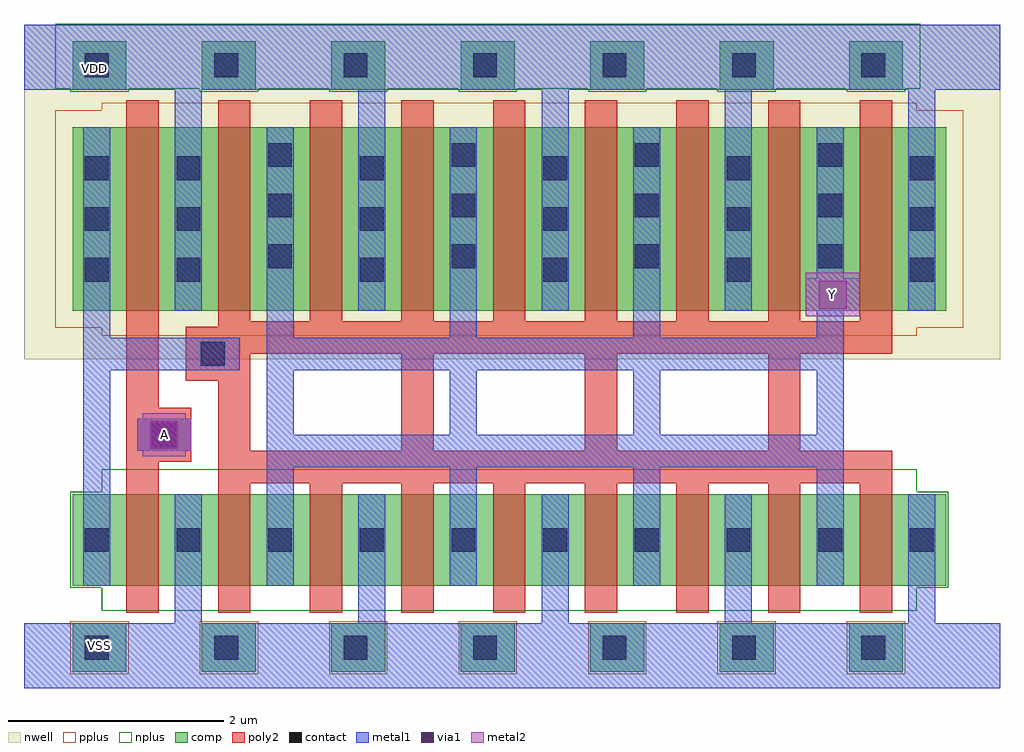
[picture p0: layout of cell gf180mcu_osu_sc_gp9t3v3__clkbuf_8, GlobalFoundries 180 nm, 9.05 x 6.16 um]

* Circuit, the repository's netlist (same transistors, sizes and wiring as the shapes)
* Copyright 2022 Google LLC
*
* Licensed under the Apache License, Version 2.0 (the "License");
* you may not use this file except in compliance with the License.
* You may obtain a copy of the License at
*
*      http://www.apache.org/licenses/LICENSE-2.0
*
* Unless required by applicable law or agreed to in writing, software
* distributed under the License is distributed on an "AS IS" BASIS,
* WITHOUT WARRANTIES OR CONDITIONS OF ANY KIND, either express or implied.
* See the License for the specific language governing permissions and
* limitations under the License.

* NGSPICE file created from gf180mcu_osu_sc_gp9t3v3__clkbuf_8.ext - technology: gf180mcuC

.subckt gf180mcu_osu_sc_gp9t3v3__clkbuf_8 A Y VDD VSS
X0 Y a_9_21# VDD VDD pfet_03p3 w=1.7u l=0.3u
X1 VDD a_9_21# Y VDD pfet_03p3 w=1.7u l=0.3u
X2 VDD a_9_21# Y VDD pfet_03p3 w=1.7u l=0.3u
X3 VDD A a_9_21# VDD pfet_03p3 w=1.7u l=0.3u
X4 Y a_9_21# VSS VSS nfet_03p3 w=0.85u l=0.3u
X5 VSS a_9_21# Y VSS nfet_03p3 w=0.85u l=0.3u
X6 VSS a_9_21# Y VSS nfet_03p3 w=0.85u l=0.3u
X7 VSS A a_9_21# VSS nfet_03p3 w=0.85u l=0.3u
X8 VDD a_9_21# Y VDD pfet_03p3 w=1.7u l=0.3u
X9 VDD a_9_21# Y VDD pfet_03p3 w=1.7u l=0.3u
X10 Y a_9_21# VDD VDD pfet_03p3 w=1.7u l=0.3u
X11 Y a_9_21# VDD VDD pfet_03p3 w=1.7u l=0.3u
X12 Y a_9_21# VDD VDD pfet_03p3 w=1.7u l=0.3u
X13 VSS a_9_21# Y VSS nfet_03p3 w=0.85u l=0.3u
X14 VSS a_9_21# Y VSS nfet_03p3 w=0.85u l=0.3u
X15 Y a_9_21# VSS VSS nfet_03p3 w=0.85u l=0.3u
X16 Y a_9_21# VSS VSS nfet_03p3 w=0.85u l=0.3u
X17 Y a_9_21# VSS VSS nfet_03p3 w=0.85u l=0.3u
.ends

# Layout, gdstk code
import gdstk
lib = gdstk.Library(unit=1e-6, precision=1e-09)
def R(c, l, rs):  # rectangles x0, y0, x1, y1
    for r in rs: c.add(gdstk.rectangle(r[:2], r[2:], *l))
def A(c, l, x, y, w, h, nx, ny, dx, dy):  # array of equal rectangles
    R(c, l, [(x+i*dx, y+j*dy, x+i*dx+w, y+j*dy+h) for i in range(nx) for j in range(ny)])
nwell = (21, 0)
comp = (22, 0)
poly2 = (30, 0)
pplus = (31, 0)
nplus = (32, 0)
contact = (33, 0)
metal1 = (34, 0)
via1 = (35, 0)
metal2 = (36, 0)

gf180mcu_osu_sc_gp9t3v3_ = lib.new_cell('gf180mcu_osu_sc_gp9t3v3__clkbuf_8')
R(gf180mcu_osu_sc_gp9t3v3_, nwell, [(0,3.05,9.05,6.15)])
A(gf180mcu_osu_sc_gp9t3v3_, comp, 0.45, 0.15, 0.5, 0.45, 7, 2, 1.2, 5.4)
R(gf180mcu_osu_sc_gp9t3v3_, comp, [(0.45,0.95,8.55,1.8), (0.45,3.5,8.55,5.2)])
A(gf180mcu_osu_sc_gp9t3v3_, poly2, 1.8, 0.7, 0.3, 1.2, 8, 1, 0.85, 0)
A(gf180mcu_osu_sc_gp9t3v3_, poly2, 3.5, 2.2, 0.3, 0.9, 3, 1, 1.7, 0)
A(gf180mcu_osu_sc_gp9t3v3_, poly2, 1.8, 3.4, 0.3, 2.05, 8, 1, 0.85, 0)
R(gf180mcu_osu_sc_gp9t3v3_, poly2, [(0.95,0.7,1.25,2.1), (1.8,1.9,8.05,2.2), (0.95,2.1,1.55,2.6), (1.8,2.2,2.1,2.85), (0.95,2.6,1.25,5.45), (1.5,2.85,2.1,3.1), (1.5,3.1,8.05,3.35), (1.8,3.35,8.05,3.4)])
A(gf180mcu_osu_sc_gp9t3v3_, pplus, 0.43, 0.13, 0.54, 0.49, 7, 1, 1.2, 0)
R(gf180mcu_osu_sc_gp9t3v3_, pplus, [(0.72,3.27,8.28,3.34), (0.29,3.34,8.71,5.36), (0.72,5.36,8.28,5.43)])
A(gf180mcu_osu_sc_gp9t3v3_, nplus, 0.43, 5.53, 0.54, 0.03, 7, 1, 1.2, 0)
R(gf180mcu_osu_sc_gp9t3v3_, nplus, [(0.72,0.72,8.28,0.93), (0.43,0.93,8.57,1.82), (0.72,1.82,8.28,2.03), (0.29,5.56,8.31,6.16)])
A(gf180mcu_osu_sc_gp9t3v3_, contact, 0.565, 0.265, 0.22, 0.22, 7, 2, 1.2, 5.4)
A(gf180mcu_osu_sc_gp9t3v3_, contact, 0.565, 1.265, 0.22, 0.22, 10, 1, 0.85, 0)
A(gf180mcu_osu_sc_gp9t3v3_, contact, 0.565, 3.77, 0.22, 0.22, 1, 3, 0, 0.47)
A(gf180mcu_osu_sc_gp9t3v3_, contact, 1.415, 3.77, 0.22, 0.22, 5, 3, 1.7, 0.47)
A(gf180mcu_osu_sc_gp9t3v3_, contact, 2.265, 3.895, 0.22, 0.22, 4, 3, 1.7, 0.47)
R(gf180mcu_osu_sc_gp9t3v3_, contact, [(1.19,2.24,1.41,2.46), (1.64,2.99,1.86,3.21)])
A(gf180mcu_osu_sc_gp9t3v3_, metal1, 1.4, 0.6, 0.25, 1.2, 5, 1, 1.7, 0)
A(gf180mcu_osu_sc_gp9t3v3_, metal1, 2.25, 0.95, 0.25, 1.1, 4, 1, 1.7, 0)
A(gf180mcu_osu_sc_gp9t3v3_, metal1, 2.25, 2.35, 0.25, 0.6, 4, 1, 1.7, 0)
A(gf180mcu_osu_sc_gp9t3v3_, metal1, 0.55, 3.25, 0.25, 1.95, 4, 1, 1.7, 0)
A(gf180mcu_osu_sc_gp9t3v3_, metal1, 1.4, 3.5, 0.25, 2.05, 5, 1, 1.7, 0)
R(gf180mcu_osu_sc_gp9t3v3_, metal1, [(0,0,9.05,0.6), (0.55,0.95,0.8,2.95), (2.25,2.05,7.6,2.35), (1.05,2.2,1.55,2.5), (0.55,2.95,2,3.25), (2.25,2.95,7.6,3.25), (7.35,3.25,7.6,3.5), (7.25,3.5,7.75,3.8), (7.35,3.8,7.6,5.2), (0,5.55,9.05,6.15)])
R(gf180mcu_osu_sc_gp9t3v3_, via1, [(1.17,2.22,1.43,2.48), (7.37,3.52,7.63,3.78)])
R(gf180mcu_osu_sc_gp9t3v3_, metal2, [(1.1,2.15,1.5,2.2), (1.05,2.2,1.55,2.5), (1.1,2.5,1.5,2.55), (7.25,3.45,7.75,3.85)])
gf180mcu_osu_sc_gp9t3v3_.add(gdstk.Label('VDD', (0.65,5.75), layer=34, texttype=0))
gf180mcu_osu_sc_gp9t3v3_.add(gdstk.Label('VSS', (0.7,0.4), layer=34, texttype=0))
gf180mcu_osu_sc_gp9t3v3_.add(gdstk.Label('A', (1.3,2.35), layer=36, texttype=10))
gf180mcu_osu_sc_gp9t3v3_.add(gdstk.Label('Y', (7.5,3.65), layer=36, texttype=10))

lib.write_gds('gf180mcu_osu_sc_gp9t3v3__clkbuf_8.gds')
